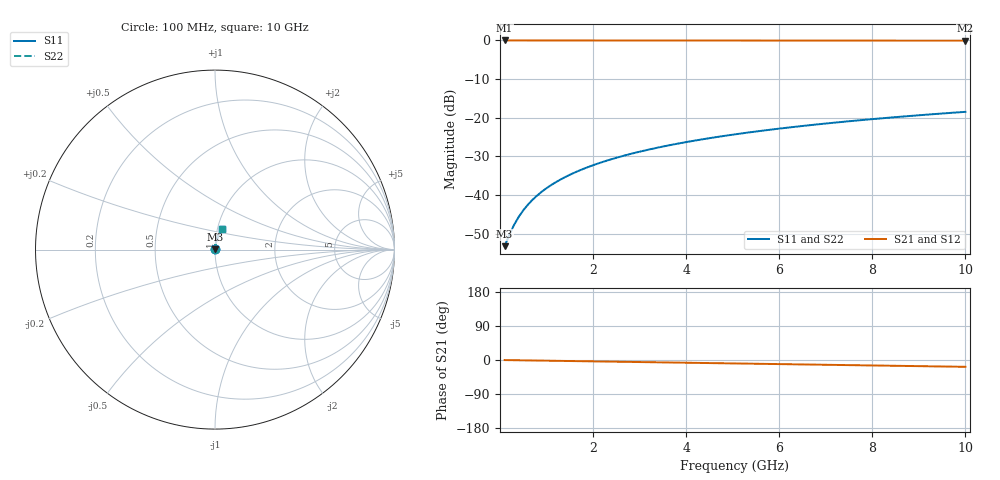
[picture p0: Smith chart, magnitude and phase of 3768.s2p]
# Hz S RI R 50.00
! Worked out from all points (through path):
!   100 points, 100 MHz to 10 GHz, reference 50 ohm
!   highest |S21| = -0.02 dB at 100 MHz (marker M1); lowest = -0.1 dB at 10 GHz (marker M2)
!   group delay of S21, straight-line fit = 5 ps
!   lowest |S11| = -53.2 dB at 100 MHz (marker M3), VSWR 1.00, Z = 50.2 + j0.121 ohm
!   |S11| at or under -10 dB: start of sweep to end of sweep
!   |S22| runs from -53.2 to -18.5 dB; largest |S21 - S12| = 0
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1e8  0.00182 0.00121  0.9982 -0.00314  0.9982 -0.00314  0.00182 0.00121
2e8  0.00184 0.00241  0.9981 -0.00627  0.9981 -0.00627  0.00184 0.00241
3e8  0.00187 0.00362  0.9981 -0.00941  0.9981 -0.00941  0.00187 0.00362
4e8  0.0019 0.00482  0.9981 -0.0125  0.9981 -0.0125  0.0019 0.00482
5e8  0.00194 0.00603  0.998 -0.0157  0.998 -0.0157  0.00194 0.00603
6e8  0.00199 0.00724  0.9979 -0.0188  0.9979 -0.0188  0.00199 0.00724
7e8  0.00204 0.00844  0.9979 -0.022  0.9979 -0.022  0.00204 0.00844
9e8  0.00217 0.0109  0.9977 -0.0282  0.9977 -0.0282  0.00217 0.0109
1e9  0.00224 0.0121  0.9976 -0.0314  0.9976 -0.0314  0.00224 0.0121
1.2e9  0.00242 0.0145  0.9973 -0.0376  0.9973 -0.0376  0.00242 0.0145
1.5e9  0.00273 0.0181  0.9968 -0.047  0.9968 -0.047  0.00273 0.0181
1.8e9  0.00311 0.0217  0.9962 -0.0564  0.9962 -0.0564  0.00311 0.0217
2.1e9  0.00356 0.0253  0.9956 -0.0658  0.9956 -0.0658  0.00356 0.0253
2.5e9  0.00426 0.03  0.9945 -0.0783  0.9945 -0.0783  0.00426 0.03
2.9e9  0.00509 0.0348  0.9933 -0.0908  0.9933 -0.0908  0.00509 0.0348
3.4e9  0.00628 0.0407  0.9915 -0.1064  0.9915 -0.1064  0.00628 0.0407
4.2e9  0.00857 0.05  0.988 -0.1312  0.988 -0.1312  0.00857 0.05
5.1e9  0.0117 0.0604  0.9833 -0.159  0.9833 -0.159  0.0117 0.0604
5.9e9  0.015 0.0695  0.9784 -0.1836  0.9784 -0.1836  0.015 0.0695
6.7e9  0.0187 0.0784  0.9727 -0.208  0.9727 -0.208  0.0187 0.0784
8.4e9  0.0281 0.0966  0.9584 -0.2592  0.9584 -0.2592  0.0281 0.0966
1e10  0.0387 0.1127  0.9422 -0.3063  0.9422 -0.3063  0.0387 0.1127
